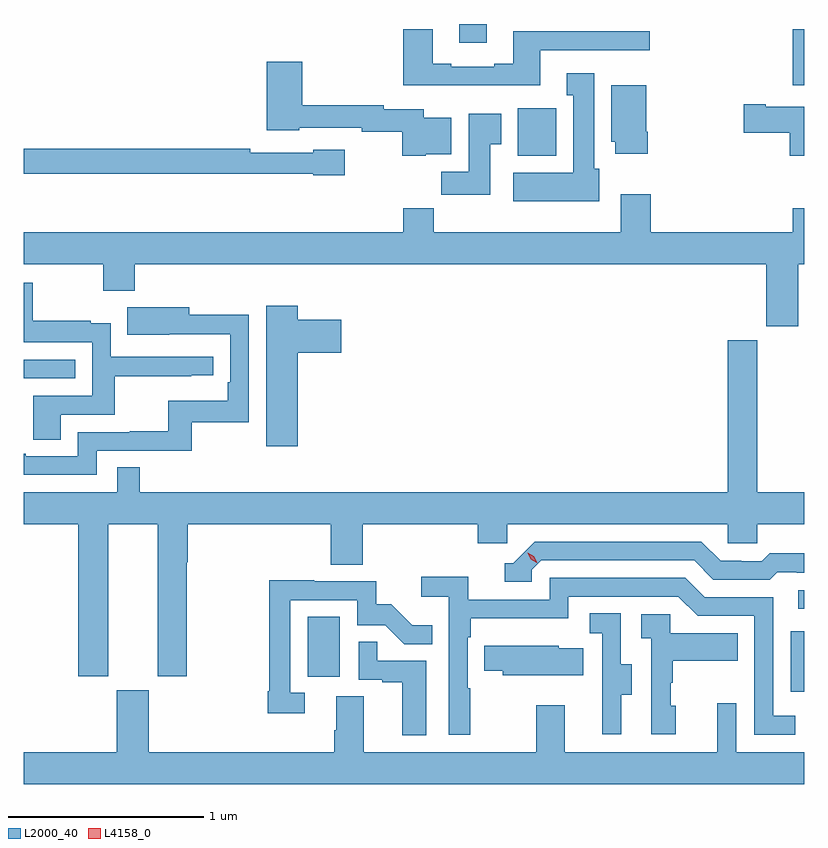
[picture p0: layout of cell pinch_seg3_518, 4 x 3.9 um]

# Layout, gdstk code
import gdstk
lib = gdstk.Library(unit=1e-6, precision=1e-09)
def R(c, l, rs):  # rectangles x0, y0, x1, y1
    for r in rs: c.add(gdstk.rectangle(r[:2], r[2:], *l))
def P(c, l, *ps):  # polygons
    for p in ps: c.add(gdstk.Polygon(p, *l))
L2000_40 = (2000, 40)
L4158_0 = (4158, 0)

pinch_seg3_518 = lib.new_cell('pinch_seg3_518')
R(pinch_seg3_518, L2000_40, [(979.206,670.752,979.275,671.062), (976.73,670.83,976.894,671.137), (979.245,671.178,979.275,671.274), (975.275,672.36,975.539,672.456), (977.807,673.502,978.004,673.744), (979.217,673.862,979.275,674.149), (977.507,674.082,977.647,674.177)])
P(pinch_seg3_518, L2000_40, [(977.923,674.043),(978.484,674.043),(978.484,674.14),(977.783,674.14),(977.783,673.972),(977.687,673.972),(977.687,673.959),(977.467,673.959),(977.467,673.972),(977.371,673.972),(977.371,674.149),(977.219,674.149),(977.219,673.862),(977.923,673.862)],
  [(977.334,673.508),(977.467,673.508),(977.467,673.696),(977.326,673.696),(977.326,673.74),(977.12,673.74),(977.12,673.76),(976.703,673.76),(976.703,673.984),(976.52,673.984),(976.52,673.631),(976.686,673.631),(976.686,673.644),(977.008,673.644),(977.008,673.624),(977.216,673.624),(977.216,673.502),(977.334,673.502)],
  [(978.226,673.434),(978.199,673.434),(978.199,673.924),(978.059,673.924),(978.059,673.811),(978.092,673.811),(978.092,673.414),(977.783,673.414),(977.783,673.268),(978.226,673.268)],
  [(978.474,673.624),(978.466,673.624),(978.466,673.864),(978.287,673.864),(978.287,673.572),(978.308,673.572),(978.308,673.512),(978.474,673.512)],
  [(979.275,673.753),(979.078,673.753),(979.078,673.766),(978.966,673.766),(978.966,673.619),(979.202,673.619),(979.202,673.502),(979.275,673.502)],
  [(977.665,673.561),(977.722,673.561),(977.722,673.717),(977.555,673.717),(977.555,673.42),(977.416,673.42),(977.416,673.302),(977.665,673.302)],
  [(976.921,673.531),(976.758,673.531),(976.758,673.518),(976.436,673.518),(976.436,673.538),(975.275,673.538),(975.275,673.41),(976.758,673.41),(976.758,673.402),(976.921,673.402)],
  [(979.246,672.944),(979.275,672.944),(979.275,673.232),(979.217,673.232),(979.217,673.108),(978.488,673.108),(978.488,673.303),(978.335,673.303),(978.335,673.108),(977.375,673.108),(977.375,673.232),(977.219,673.232),(977.219,673.108),(975.275,673.108),(975.275,672.944),(975.682,672.944),(975.682,672.809),(975.842,672.809),(975.842,672.944),(979.082,672.944),(979.082,672.627),(979.246,672.627)],
  [(975.463,672.174),(975.74,672.174),(975.74,672.37),(976.133,672.37),(976.133,672.375),(976.246,672.375),(976.246,672.471),(975.72,672.471),(975.72,672.643),(975.617,672.643),(975.617,672.655),(975.319,672.655),(975.319,672.849),(975.275,672.849),(975.275,672.546),(975.624,672.546),(975.624,672.27),(975.323,672.27),(975.323,672.046),(975.463,672.046)],
  [(976.678,672.491),(976.903,672.491),(976.903,672.661),(976.678,672.661),(976.678,672.733),(976.517,672.733),(976.517,672.012),(976.678,672.012)],
  [(975.648,671.988),(976.135,671.988),(976.135,672.135),(976.428,672.135),(976.428,672.686),(976.123,672.686),(976.123,672.724),(975.805,672.724),(975.805,672.584),(976.019,672.584),(976.019,672.585),(976.332,672.585),(976.332,672.34),(976.319,672.34),(976.319,672.244),(976.014,672.244),(976.014,672.089),(975.817,672.089),(975.817,672.084),(975.552,672.084),(975.552,671.961),(975.283,671.961),(975.283,671.974),(975.275,671.974),(975.275,671.865),(975.648,671.865)],
  [(975.706,671.612),(975.962,671.612),(975.962,670.833),(976.11,670.833),(976.11,671.416),(976.115,671.416),(976.115,671.612),(976.847,671.612),(976.847,671.404),(977.012,671.404),(977.012,671.612),(977.603,671.612),(977.603,671.514),(977.754,671.514),(977.754,671.612),(978.885,671.612),(978.885,671.514),(979.035,671.514),(979.035,671.612),(979.275,671.612),(979.275,671.776),(979.036,671.776),(979.036,672.555),(978.884,672.555),(978.884,671.776),(975.869,671.776),(975.869,671.903),(975.753,671.903),(975.753,671.776),(975.275,671.776),(975.275,671.612),(975.554,671.612),(975.554,670.833),(975.706,670.833)],
  [(977.88,671.379),(977.928,671.427),(978.711,671.427),(978.81,671.328),(979.099,671.328),(979.138,671.367),(979.237,671.367),(979.237,671.364),(979.275,671.364),(979.275,671.464),(979.099,671.464),(979.057,671.421),(978.954,671.421),(978.954,671.424),(978.847,671.424),(978.748,671.523),(977.895,671.523),(977.784,671.412),(977.741,671.412),(977.741,671.316),(977.88,671.316)],
  [(977.563,670.772),(977.55,670.772),(977.55,671.033),(977.567,671.033),(977.567,671.129),(978.066,671.129),(978.066,671.241),(978.63,671.241),(978.729,671.142),(979.02,671.142),(979.02,670.533),(979.229,670.533),(979.229,670.629),(979.116,670.629),(979.116,671.238),(978.766,671.238),(978.667,671.337),(977.97,671.337),(977.97,671.226),(977.552,671.226),(977.552,671.342),(977.313,671.342),(977.313,671.24),(977.454,671.24),(977.454,670.533),(977.563,670.533)],
  [(976.714,670.749),(976.641,670.749),(976.641,671.223),(976.983,671.223),(976.983,671.094),(977.128,671.094),(977.226,670.996),(977.369,670.996),(977.369,671.095),(977.265,671.095),(977.158,671.202),(977.082,671.202),(977.082,671.319),(976.763,671.319),(976.763,671.324),(976.533,671.324),(976.533,670.756),(976.525,670.756),(976.525,670.644),(976.714,670.644)],
  [(978.337,670.738),(978.391,670.738),(978.391,670.893),(978.336,670.893),(978.336,671.156),(978.177,671.156),(978.177,671.053),(978.24,671.053),(978.24,670.749),(978.239,670.749),(978.239,670.536),(978.337,670.536)],
  [(978.616,670.68),(978.591,670.68),(978.591,670.799),(978.601,670.799),(978.601,670.913),(978.935,670.913),(978.935,671.053),(978.588,671.053),(978.588,671.151),(978.441,671.151),(978.441,671.027),(978.492,671.027),(978.492,670.536),(978.616,670.536)],
  [(977.338,670.911),(977.087,670.911),(977.087,671.009),(976.992,671.009),(976.992,670.815),(977.113,670.815),(977.113,670.803),(977.216,670.803),(977.216,670.529),(977.338,670.529)],
  [(978.143,670.975),(978.018,670.975),(978.018,670.99),(977.746,670.99),(977.746,670.989),(977.635,670.989),(977.635,670.861),(977.729,670.861),(977.729,670.838),(978.143,670.838)],
  [(979.275,670.444),(978.927,670.444),(978.927,670.693),(978.83,670.693),(978.83,670.444),(978.049,670.444),(978.049,670.684),(977.902,670.684),(977.902,670.444),(977.017,670.444),(977.017,670.73),(976.877,670.73),(976.877,670.556),(976.865,670.556),(976.865,670.444),(975.916,670.444),(975.916,670.761),(975.752,670.761),(975.752,670.444),(975.275,670.444),(975.275,670.28),(979.275,670.28)])
P(pinch_seg3_518, L4158_0, [(977.905,671.414),(977.874,671.433),(977.858,671.466),(977.858,671.466),(977.858,671.466),(977.889,671.447),(977.906,671.414),(977.906,671.414)])

lib.write_gds('pinch_seg3_518.gds')
